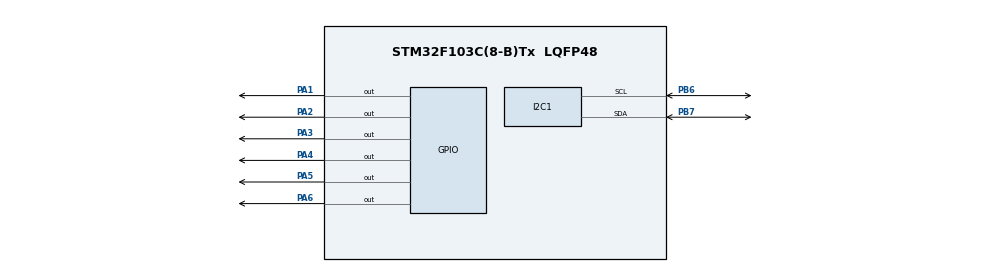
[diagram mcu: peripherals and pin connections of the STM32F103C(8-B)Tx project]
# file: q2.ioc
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Mcu.Family=STM32F1
Mcu.Name=STM32F103C(8-B)Tx
Mcu.Package=LQFP48
NVIC.PriorityGroup=NVIC_PRIORITYGROUP_4
PA1.Signal=GPIO_Output
PA2.Signal=GPIO_Output
PA3.Signal=GPIO_Output
PA4.Signal=GPIO_Output
PA5.Signal=GPIO_Output
PA6.Signal=GPIO_Output
PB6.Mode=I2C
PB6.Signal=I2C1_SCL
PB7.Mode=I2C
PB7.Signal=I2C1_SDA
ProjectManager.HeapSize=0x200
ProjectManager.StackSize=0x400
ProjectManager.TargetToolchain=STM32CubeIDE
RCC.APB1CLKDivider=RCC_HCLK_DIV2
RCC.APB1Freq_Value=4000000
RCC.APB1TimFreq_Value=8000000
RCC.APB2Freq_Value=8000000
VP_SYS_VS_ND.Mode=No_Debug
board=custom

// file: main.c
/* USER CODE BEGIN Header */
/**
  ******************************************************************************
  * @file           : main.c
  * @brief          : Main program body
  ******************************************************************************
  * @attention
  *
  * Copyright (c) 2026 STMicroelectronics.
  * All rights reserved.
  *
  * This software is licensed under terms that can be found in the LICENSE file
  * in the root directory of this software component.
  * If no LICENSE file comes with this software, it is provided AS-IS.
  *
  ******************************************************************************
  */
/* USER CODE END Header */
#include "main.h"

/* USER CODE BEGIN Includes */
#include "lcd.h"
#include <stdio.h>
/* USER CODE END Includes */

I2C_HandleTypeDef hi2c1;

/* USER CODE BEGIN PV */
#define LM75_ADDR_8BIT 0x90
#define TEMP_REGISTER 0x00

uint8_t temp_data[2];
int16_t raw_temp;
float temperature;
char display_buf[32];
/* USER CODE END PV */

void SystemClock_Config(void);
static void MX_GPIO_Init(void);
static void MX_I2C1_Init(void);

int main(void)
{

  /* MCU Configuration--------------------------------------------------------*/

  /* Reset of all peripherals, Initializes the Flash interface and the Systick. */
  HAL_Init();

  /* Configure the system clock */
  SystemClock_Config();

  /* Initialize all configured peripherals */
  MX_GPIO_Init();
  MX_I2C1_Init();
  /* USER CODE BEGIN 2 */
  HAL_Delay(100);

    Lcd_PortType ports[] = {GPIOA, GPIOA, GPIOA, GPIOA};
    Lcd_PinType pins[] = {GPIO_PIN_3, GPIO_PIN_4, GPIO_PIN_5, GPIO_PIN_6};
    Lcd_HandleTypeDef lcd = Lcd_create(ports, pins, GPIOA, GPIO_PIN_1, GPIOA, GPIO_PIN_2, LCD_4_BIT_MODE);

    HAL_Delay(10);

    Lcd_cursor(&lcd, 0, 0);
    Lcd_string(&lcd, "LM75 Sensor Init");

    HAL_Delay(500);
    Lcd_clear(&lcd);
    HAL_Delay(5);
  /* USER CODE END 2 */

  /* Infinite loop */
  /* USER CODE BEGIN WHILE */
    while (1)
      {
          if (HAL_I2C_Mem_Read(&hi2c1, LM75_ADDR_8BIT, TEMP_REGISTER, I2C_MEMADD_SIZE_8BIT, temp_data, 2, HAL_MAX_DELAY) == HAL_OK)
          {
              raw_temp = (int16_t)((temp_data[0] << 8) | temp_data[1]) >> 7;

              int whole_part = raw_temp / 2;
              int decimal_part = (raw_temp % 2) * 5;

              if(decimal_part < 0) decimal_part *= -1;
              sprintf(display_buf, "Temp: %d.%d C   ", whole_part, decimal_part);
              Lcd_cursor(&lcd, 0, 0);
              Lcd_string(&lcd, display_buf);
          }
          else
          {
              Lcd_cursor(&lcd, 0, 0);
              Lcd_string(&lcd, "I2C Read Error! ");
          }

          HAL_Delay(200);
      }
  /* USER CODE END 3 */
}

void SystemClock_Config(void)
{
  RCC_OscInitTypeDef RCC_OscInitStruct = {0};
  RCC_ClkInitTypeDef RCC_ClkInitStruct = {0};

  /** Initializes the RCC Oscillators according to the specified parameters
  * in the RCC_OscInitTypeDef structure.
  */
  RCC_OscInitStruct.OscillatorType = RCC_OSCILLATORTYPE_HSI;
  RCC_OscInitStruct.HSIState = RCC_HSI_ON;
  RCC_OscInitStruct.HSICalibrationValue = RCC_HSICALIBRATION_DEFAULT;
  RCC_OscInitStruct.PLL.PLLState = RCC_PLL_NONE;
  if (HAL_RCC_OscConfig(&RCC_OscInitStruct) != HAL_OK)
  {
    Error_Handler();
  }

  /** Initializes the CPU, AHB and APB buses clocks
  */
  RCC_ClkInitStruct.ClockType = RCC_CLOCKTYPE_HCLK|RCC_CLOCKTYPE_SYSCLK
                              |RCC_CLOCKTYPE_PCLK1|RCC_CLOCKTYPE_PCLK2;
  RCC_ClkInitStruct.SYSCLKSource = RCC_SYSCLKSOURCE_HSI;
  RCC_ClkInitStruct.AHBCLKDivider = RCC_SYSCLK_DIV1;
  RCC_ClkInitStruct.APB1CLKDivider = RCC_HCLK_DIV2;
  RCC_ClkInitStruct.APB2CLKDivider = RCC_HCLK_DIV1;

  if (HAL_RCC_ClockConfig(&RCC_ClkInitStruct, FLASH_LATENCY_0) != HAL_OK)
  {
    Error_Handler();
  }
}

static void MX_I2C1_Init(void)
{

  hi2c1.Instance = I2C1;
  hi2c1.Init.ClockSpeed = 100000;
  hi2c1.Init.DutyCycle = I2C_DUTYCYCLE_2;
  hi2c1.Init.OwnAddress1 = 0;
  hi2c1.Init.AddressingMode = I2C_ADDRESSINGMODE_7BIT;
  hi2c1.Init.DualAddressMode = I2C_DUALADDRESS_DISABLE;
  hi2c1.Init.OwnAddress2 = 0;
  hi2c1.Init.GeneralCallMode = I2C_GENERALCALL_DISABLE;
  hi2c1.Init.NoStretchMode = I2C_NOSTRETCH_DISABLE;
  if (HAL_I2C_Init(&hi2c1) != HAL_OK)
  {
    Error_Handler();
  }

}

static void MX_GPIO_Init(void)
{
  GPIO_InitTypeDef GPIO_InitStruct = {0};

  /* GPIO Ports Clock Enable */
  __HAL_RCC_GPIOA_CLK_ENABLE();
  __HAL_RCC_GPIOB_CLK_ENABLE();

  /*Configure GPIO pin Output Level */
  HAL_GPIO_WritePin(GPIOA, GPIO_PIN_1|GPIO_PIN_2|GPIO_PIN_3|GPIO_PIN_4
                          |GPIO_PIN_5|GPIO_PIN_6, GPIO_PIN_RESET);

  /*Configure GPIO pins : PA1 PA2 PA3 PA4
                           PA5 PA6 */
  GPIO_InitStruct.Pin = GPIO_PIN_1|GPIO_PIN_2|GPIO_PIN_3|GPIO_PIN_4
                          |GPIO_PIN_5|GPIO_PIN_6;
  GPIO_InitStruct.Mode = GPIO_MODE_OUTPUT_PP;
  GPIO_InitStruct.Pull = GPIO_NOPULL;
  GPIO_InitStruct.Speed = GPIO_SPEED_FREQ_LOW;
  HAL_GPIO_Init(GPIOA, &GPIO_InitStruct);

}

/* USER CODE BEGIN 4 */
void HAL_Delay(uint32_t Delay)
{
  uint32_t tickstart = HAL_GetTick();
  uint32_t wait = Delay * 5; // Multiply every delay by 5

  if (wait < HAL_MAX_DELAY)
  {
    wait += (uint32_t)(uwTickFreq);
  }

  while ((HAL_GetTick() - tickstart) < wait)
  {
  }
}
/* USER CODE END 4 */

void Error_Handler(void)
{
  __disable_irq();
  while (1)
  {
  }
}
